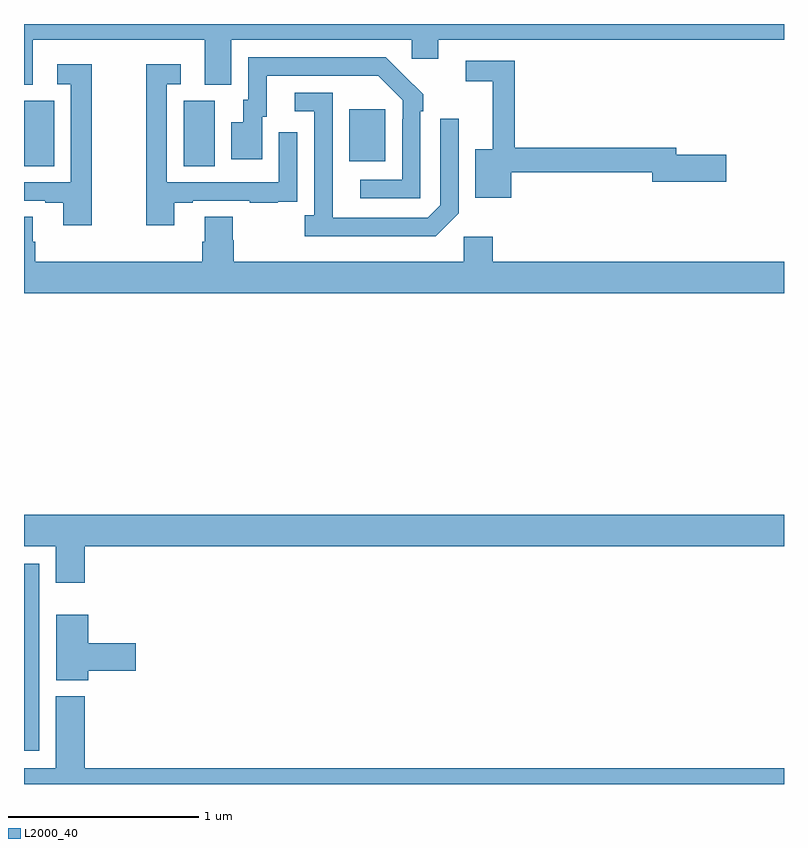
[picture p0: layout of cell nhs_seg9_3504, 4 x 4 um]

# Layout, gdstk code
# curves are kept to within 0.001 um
import gdstk
lib = gdstk.Library(unit=1e-6, precision=1e-09)
def R(c, l, rs):  # rectangles x0, y0, x1, y1
    for r in rs: c.add(gdstk.rectangle(r[:2], r[2:], *l))
def P(c, l, *ps):  # polygons
    for p in ps: c.add(gdstk.Polygon(p, *l))
L2000_40 = (2000, 40)

nhs_seg9_3504 = lib.new_cell('nhs_seg9_3504')
R(nhs_seg9_3504, L2000_40, [(311,1196.676,311.079,1197.66), (311,1199.752,311.158,1200.096), (311.84,1199.752,312.004,1200.096), (312.713,1199.777,312.901,1200.052)])
P(nhs_seg9_3504, L2000_40, [(311.047,1200.416),(311.951,1200.416),(311.951,1200.181),(312.091,1200.181),(312.091,1200.416),(313.041,1200.416),(313.041,1200.318),(313.18,1200.318),(313.18,1200.416),(315,1200.416),(315,1200.5),(311,1200.5),(311,1200.181),(311.047,1200.181)],
  [(313.086,1200.041),(313.101,1200.041),(313.101,1200.129),(312.904,1200.324),(312.18,1200.324),(312.18,1200.102),(312.155,1200.102),(312.155,1199.983),(312.092,1199.983),(312.092,1199.787),(312.253,1199.787),(312.253,1200.012),(312.277,1200.012),(312.277,1200.228),(312.865,1200.228),(312.993,1200.099),(312.993,1199.999),(312.99,1199.999),(312.99,1199.679),(312.771,1199.679),(312.771,1199.583),(313.086,1199.583)],
  [(313.564,1199.721),(314.306,1199.721),(314.306,1199.671),(314.695,1199.671),(314.695,1199.813),(314.434,1199.813),(314.434,1199.849),(313.583,1199.849),(313.583,1200.306),(313.326,1200.306),(313.326,1200.198),(313.466,1200.198),(313.466,1199.842),(313.376,1199.842),(313.376,1199.585),(313.564,1199.585)],
  [(311.356,1200.289),(311.175,1200.289),(311.175,1200.183),(311.247,1200.183),(311.247,1199.667),(311,1199.667),(311,1199.571),(311.111,1199.571),(311.111,1199.559),(311.207,1199.559),(311.207,1199.442),(311.356,1199.442)],
  [(311.791,1199.559),(311.887,1199.559),(311.887,1199.571),(312.187,1199.571),(312.187,1199.559),(312.335,1199.559),(312.335,1199.565),(312.437,1199.565),(312.437,1199.674),(312.438,1199.674),(312.438,1199.929),(312.342,1199.929),(312.342,1199.667),(311.751,1199.667),(311.751,1200.183),(311.824,1200.183),(311.824,1200.289),(311.643,1200.289),(311.643,1199.442),(311.791,1199.442)],
  [(313.287,1199.505),(313.287,1200.001),(313.191,1200.001),(313.191,1199.547),(313.125,1199.481),(312.625,1199.481),(312.624,1200.138),(312.426,1200.138),(312.426,1200.042),(312.528,1200.042),(312.528,1199.494),(312.477,1199.494),(312.477,1199.384),(313.166,1199.384)],
  [(315,1199.248),(313.466,1199.248),(313.466,1199.38),(313.314,1199.38),(313.314,1199.248),(312.104,1199.248),(312.104,1199.361),(312.099,1199.361),(312.099,1199.486),(311.951,1199.486),(311.951,1199.354),(311.939,1199.354),(311.939,1199.248),(311.06,1199.248),(311.06,1199.354),(311.047,1199.354),(311.047,1199.486),(311,1199.486),(311,1199.084),(315,1199.084)],
  [(311.321,1197.752),(315,1197.752),(315,1197.916),(311,1197.916),(311,1197.752),(311.168,1197.752),(311.168,1197.558),(311.321,1197.558)],
  [(311.338,1197.095),(311.587,1197.095),(311.587,1197.242),(311.338,1197.242),(311.338,1197.391),(311.171,1197.391),(311.171,1197.047),(311.338,1197.047)],
  [(315,1196.584),(311.321,1196.584),(311.321,1196.962),(311.168,1196.962),(311.168,1196.584),(311,1196.584),(311,1196.5),(315,1196.5)])

lib.write_gds('nhs_seg9_3504.gds')
